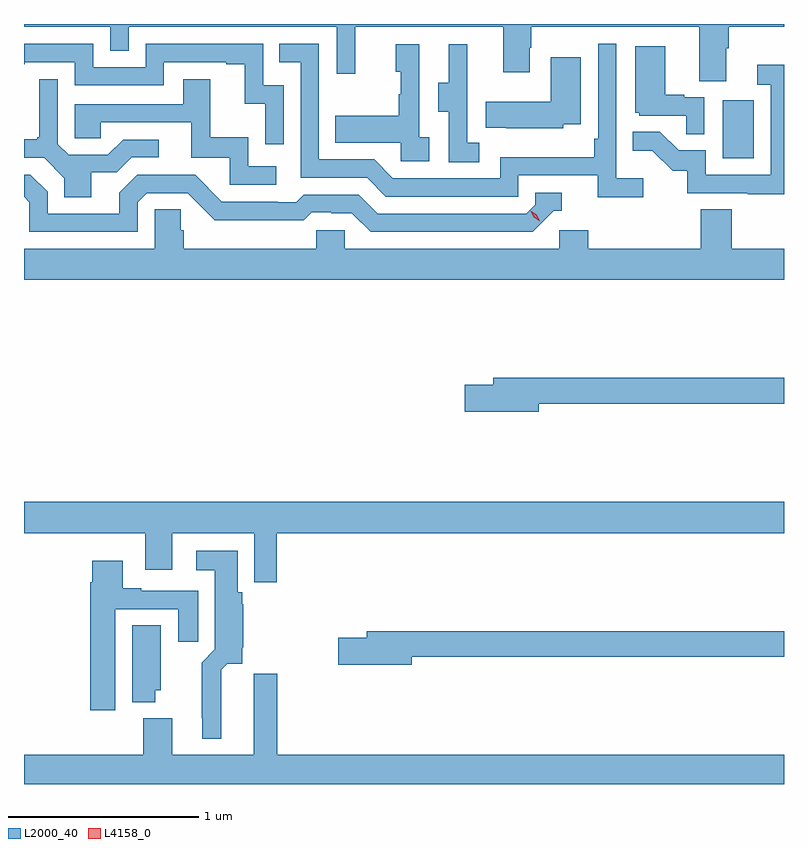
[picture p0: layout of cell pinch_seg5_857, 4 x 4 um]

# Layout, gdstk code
import gdstk
lib = gdstk.Library(unit=1e-6, precision=1e-09)
def R(c, l, rs):  # rectangles x0, y0, x1, y1
    for r in rs: c.add(gdstk.rectangle(r[:2], r[2:], *l))
def P(c, l, *ps):  # polygons
    for p in ps: c.add(gdstk.Polygon(p, *l))
L2000_40 = (2000, 40)
L4158_0 = (4158, 0)

pinch_seg5_857 = lib.new_cell('pinch_seg5_857')
R(pinch_seg5_857, L2000_40, [(856.448,877.38,856.612,877.687)])
P(pinch_seg5_857, L2000_40, [(856.465,877.96),(856.478,877.96),(856.478,878.072),(856.77,878.072),(856.77,878.087),(852.77,878.087),(852.77,878.072),(853.224,878.072),(853.224,877.945),(853.32,877.945),(853.32,878.072),(854.415,878.072),(854.415,877.824),(854.513,877.824),(854.513,878.072),(855.293,878.072),(855.293,877.833),(855.433,877.833),(855.433,877.961),(855.441,877.961),(855.441,878.072),(856.325,878.072),(856.325,877.786),(856.465,877.786)],
  [(856.03,877.276),(855.888,877.276),(855.888,877.984),(855.792,877.984),(855.792,877.483),(855.772,877.483),(855.772,877.387),(855.276,877.387),(855.276,877.275),(854.712,877.275),(854.613,877.374),(854.322,877.374),(854.322,877.983),(854.113,877.983),(854.113,877.887),(854.226,877.887),(854.226,877.278),(854.576,877.278),(854.675,877.179),(855.372,877.179),(855.372,877.29),(855.791,877.29),(855.791,877.174),(856.03,877.174)],
  [(854.136,877.764),(854.028,877.764),(854.028,877.983),(853.41,877.983),(853.41,877.86),(853.134,877.86),(853.134,877.983),(852.77,877.983),(852.77,877.875),(852.775,877.875),(852.775,877.887),(853.038,877.887),(853.038,877.764),(853.506,877.764),(853.506,877.887),(853.835,877.887),(853.835,877.875),(853.931,877.875),(853.931,877.667),(854.04,877.667),(854.04,877.455),(854.136,877.455)],
  [(854.902,877.49),(854.85,877.49),(854.85,877.981),(854.726,877.981),(854.726,877.836),(854.752,877.836),(854.752,877.718),(854.742,877.718),(854.742,877.603),(854.407,877.603),(854.407,877.463),(854.754,877.463),(854.754,877.365),(854.902,877.365)],
  [(855.166,877.463),(855.102,877.463),(855.102,877.767),(855.104,877.767),(855.104,877.981),(855.005,877.981),(855.005,877.779),(854.951,877.779),(854.951,877.624),(855.006,877.624),(855.006,877.36),(855.166,877.36)],
  [(856.35,877.701),(856.244,877.701),(856.244,877.714),(856.144,877.714),(856.144,877.969),(855.986,877.969),(855.986,877.62),(856.008,877.62),(856.008,877.605),(856.255,877.605),(856.255,877.507),(856.35,877.507)],
  [(855.609,877.559),(855.7,877.559),(855.7,877.912),(855.542,877.912),(855.542,877.678),(855.199,877.678),(855.199,877.541),(855.307,877.541),(855.307,877.538),(855.609,877.538)],
  [(856.77,877.873),(856.629,877.873),(856.629,877.767),(856.701,877.767),(856.701,877.293),(856.359,877.293),(856.359,877.422),(856.215,877.422),(856.117,877.52),(855.973,877.52),(855.973,877.421),(856.077,877.421),(856.184,877.314),(856.261,877.314),(856.261,877.197),(856.579,877.197),(856.579,877.192),(856.77,877.192)],
  [(854.098,877.338),(853.95,877.338),(853.95,877.492),(853.751,877.492),(853.751,877.795),(853.607,877.795),(853.607,877.665),(853.038,877.665),(853.038,877.485),(853.175,877.485),(853.175,877.569),(853.649,877.569),(853.649,877.383),(853.854,877.383),(853.854,877.242),(854.098,877.242)],
  [(853.123,877.306),(853.258,877.306),(853.338,877.386),(853.48,877.386),(853.48,877.479),(853.292,877.479),(853.211,877.398),(853.005,877.398),(852.948,877.455),(852.948,877.795),(852.851,877.795),(852.851,877.492),(852.84,877.492),(852.84,877.48),(852.77,877.48),(852.77,877.383),(852.876,877.383),(852.983,877.276),(852.983,877.174),(853.123,877.174)],
  [(853.368,877.149),(853.416,877.197),(853.632,877.197),(853.774,877.055),(854.01,877.055),(854.01,877.053),(854.243,877.053),(854.285,877.095),(854.388,877.095),(854.388,877.092),(854.495,877.092),(854.594,876.993),(855.447,876.993),(855.558,877.104),(855.601,877.104),(855.601,877.2),(855.462,877.2),(855.462,877.137),(855.414,877.089),(854.631,877.089),(854.532,877.188),(854.243,877.188),(854.204,877.149),(854.105,877.149),(854.105,877.152),(853.812,877.152),(853.671,877.293),(853.365,877.293),(853.271,877.199),(853.271,877.089),(852.894,877.089),(852.894,877.203),(852.804,877.293),(852.77,877.293),(852.77,877.177),(852.798,877.149),(852.798,876.993),(853.368,876.993)],
  [(856.77,876.904),(856.496,876.904),(856.496,877.112),(856.331,877.112),(856.331,876.904),(855.74,876.904),(855.74,877.002),(855.588,877.002),(855.588,876.904),(854.457,876.904),(854.457,877.002),(854.307,877.002),(854.307,876.904),(853.61,876.904),(853.61,877.002),(853.595,877.002),(853.595,877.112),(853.458,877.112),(853.458,876.904),(852.77,876.904),(852.77,876.74),(856.77,876.74)],
  [(855.478,876.088),(856.77,876.088),(856.77,876.224),(855.239,876.224),(855.239,876.188),(855.09,876.188),(855.09,876.046),(855.478,876.046)],
  [(854.099,875.408),(856.77,875.408),(856.77,875.572),(852.77,875.572),(852.77,875.408),(853.409,875.408),(853.409,875.214),(853.549,875.214),(853.549,875.408),(853.983,875.408),(853.983,875.148),(854.099,875.148)],
  [(853.807,874.688),(853.839,874.721),(853.919,874.721),(853.919,874.802),(853.925,874.808),(853.925,875.034),(853.919,875.034),(853.919,875.097),(853.894,875.097),(853.894,875.314),(853.677,875.314),(853.677,875.213),(853.775,875.213),(853.775,874.796),(853.705,874.726),(853.705,874.435),(853.709,874.435),(853.709,874.325),(853.807,874.325)],
  [(853.249,875.007),(853.583,875.007),(853.583,874.836),(853.687,874.836),(853.687,875.103),(853.387,875.103),(853.387,875.116),(853.291,875.116),(853.291,875.263),(853.13,875.263),(853.13,875.15),(853.118,875.15),(853.118,874.476),(853.249,874.476)],
  [(853.462,874.581),(853.489,874.581),(853.489,874.922),(853.34,874.922),(853.34,874.517),(853.462,874.517)],
  [(854.812,874.756),(856.77,874.756),(856.77,874.892),(854.573,874.892),(854.573,874.856),(854.424,874.856),(854.424,874.714),(854.812,874.714)],
  [(856.77,874.24),(854.102,874.24),(854.102,874.666),(853.979,874.666),(853.979,874.24),(853.549,874.24),(853.549,874.432),(853.397,874.432),(853.397,874.24),(852.77,874.24),(852.77,874.087),(856.77,874.087)])
P(pinch_seg5_857, L4158_0, [(855.484,877.05),(855.454,877.07),(855.438,877.103),(855.438,877.103),(855.438,877.103),(855.469,877.083),(855.485,877.05),(855.485,877.05)])

lib.write_gds('pinch_seg5_857.gds')
